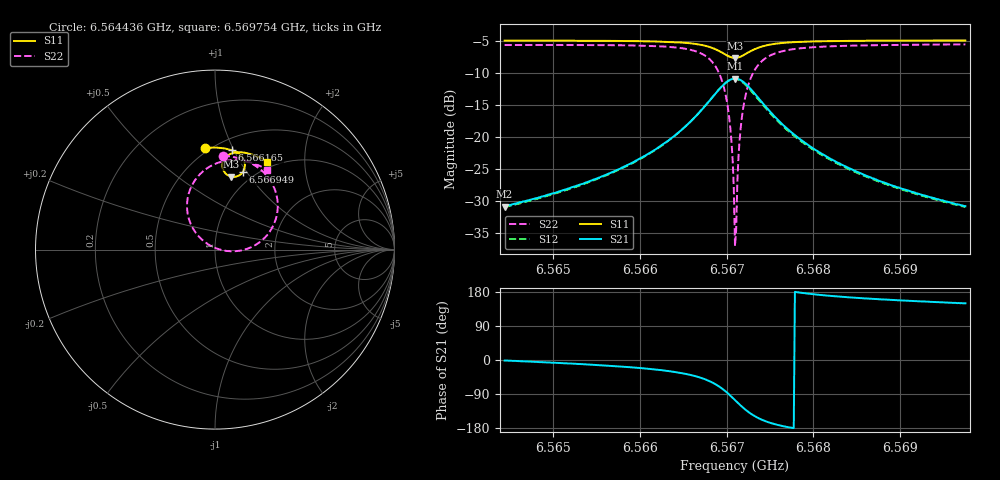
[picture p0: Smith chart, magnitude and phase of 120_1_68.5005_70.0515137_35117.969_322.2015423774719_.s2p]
#  HZ  S  RI  R  50.00
! Rohde & Schwarz Vector Network Analyzer
! Rohde-Schwarz,ZNB20-2Port,1311601062101988,3.16
! Created: UTC 3/20/2024, 5:09:04 PM
! freq[Hz]  re:S11  im:S11  re:S21  im:S21  re:S12  im:S12  re:S22  im:S22
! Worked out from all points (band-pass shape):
!   401 points, 6.564436 GHz to 6.569754 GHz, reference 50 ohm
!   highest |S21| = -10.84 dB at 6.567095 GHz (marker M1); lowest = -30.9 dB at 6.564436 GHz (marker M2)
!   |S21| within 3 dB of the highest: 6.566831 GHz to 6.567362 GHz (531.1 kHz wide, 0.00809 % of centre)
!   lowest |S11| = -7.6 dB at 6.567095 GHz (marker M3), VSWR 2.43, Z = 41.6 + j41 ohm
!   |S11| at or under -10 dB: nowhere
!   |S22| runs from -37.1 to -5.5 dB; largest |S21 - S12| = 0.014
!   S11 on the Smith chart (normalised r, x): 6.564436 GHz: 0.47, +0.79; 6.566165 GHz: 0.61, +0.98; 6.566949 GHz: 0.88, +0.96; 6.569754 GHz: 0.91, +1.32
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6.5644362e9  -0.0569 0.5662  0.0284 -0.000769  0.0281 -0.0011  0.0432 0.5237
6.5653269e9  0.0166 0.5676  0.0419 -0.00819  0.0412 -0.00873  0.1284 0.5098
6.5661645e9  0.0955 0.5528  0.0714 -0.0332  0.0705 -0.034  0.2398 0.4571
6.5662177e9  0.1013 0.5505  0.0746 -0.0366  0.0735 -0.0376  0.249 0.4497
6.5665235e9  0.1369 0.5295  0.0971 -0.072  0.0956 -0.0736  0.311 0.38
6.5667362e9  0.1613 0.4961  0.1103 -0.1302  0.1076 -0.1327  0.3486 0.2681
6.5668559e9  0.1662 0.4629  0.0997 -0.1881  0.0948 -0.1917  0.3344 0.1575
6.5669489e9  0.1538 0.4305  0.061 -0.2435  0.0526 -0.2464  0.2645 0.0542
6.5670287e9  0.1245 0.4086  -0.00603 -0.2779  -0.0179 -0.2773  0.1411 -0.0057
6.5670553e9  0.1112 0.4054  -0.0345 -0.2814  -0.0466 -0.2788  0.0902 -0.00943
6.5670819e9  0.0973 0.4052  -0.0636 -0.2795  -0.0757 -0.2745  0.0383 -0.00275
6.5670952e9  0.0905 0.4064  -0.0781 -0.2762  -0.0899 -0.2702  0.0131 0.00473
6.5671085e9  0.0837 0.4083  -0.092 -0.2713  -0.1037 -0.2644  -0.0112 0.0147
6.5671218e9  0.0772 0.4109  -0.1054 -0.2653  -0.1165 -0.2574  -0.0341 0.0268
6.5671483e9  0.0654 0.418  -0.13 -0.2497  -0.1394 -0.2402  -0.0748 0.0575
6.5671882e9  0.052 0.4326  -0.1585 -0.22  -0.1652 -0.2088  -0.1202 0.1136
6.5672414e9  0.0426 0.455  -0.1804 -0.1759  -0.1833 -0.1643  -0.151 0.1937
6.5673079e9  0.0425 0.4808  -0.1864 -0.1252  -0.186 -0.115  -0.1529 0.2824
6.5675472e9  0.0802 0.5302  -0.1431 -0.0281  -0.1399 -0.0237  -0.0546 0.4458
6.5679859e9  0.1433 0.5422  -0.0818 0.00887  -0.0798 0.0101  0.0833 0.4976
6.5688767e9  0.227 0.522  -0.0395 0.0152  -0.0386 0.0156  0.2138 0.4803
6.5697542e9  0.2921 0.4905  -0.0247 0.0145  -0.0241 0.0147  0.2916 0.4448
